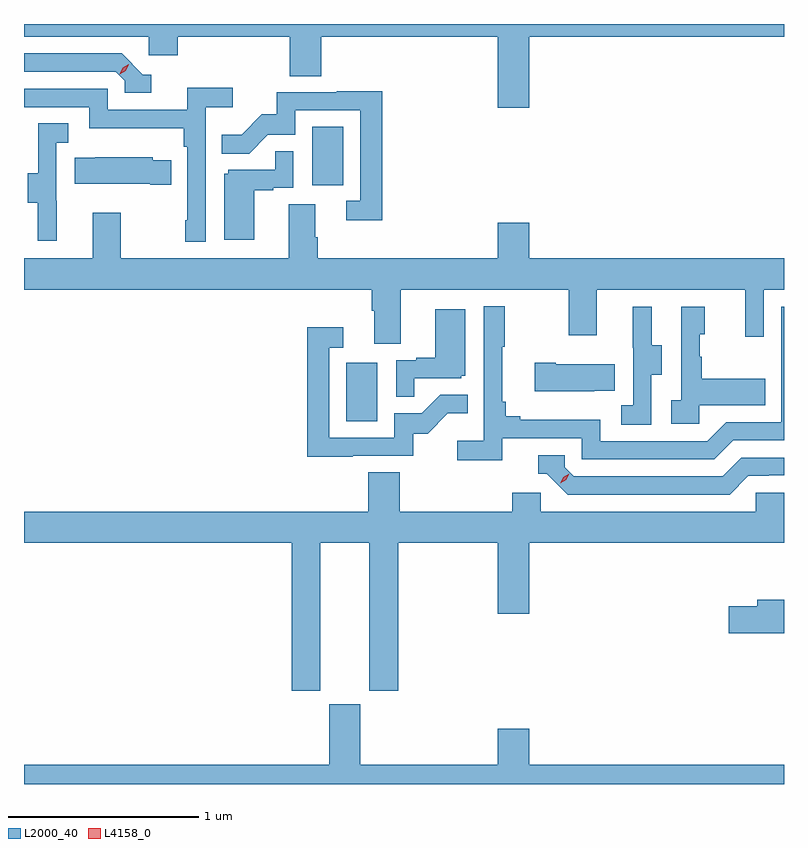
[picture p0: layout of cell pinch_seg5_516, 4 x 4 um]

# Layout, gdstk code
import gdstk
lib = gdstk.Library(unit=1e-6, precision=1e-09)
def R(c, l, rs):  # rectangles x0, y0, x1, y1
    for r in rs: c.add(gdstk.rectangle(r[:2], r[2:], *l))
def P(c, l, *ps):  # polygons
    for p in ps: c.add(gdstk.Polygon(p, *l))
L2000_40 = (2000, 40)
L4158_0 = (4158, 0)

pinch_seg5_516 = lib.new_cell('pinch_seg5_516')
R(pinch_seg5_516, L2000_40, [(895.478,834.756,895.642,835.063), (895.298,835.998,895.462,836.305)])
P(pinch_seg5_516, L2000_40, [(896.44,836.78),(897.782,836.78),(897.782,836.846),(893.782,836.846),(893.782,836.78),(894.438,836.78),(894.438,836.682),(894.59,836.682),(894.59,836.78),(895.181,836.78),(895.181,836.572),(895.346,836.572),(895.346,836.78),(896.276,836.78),(896.276,836.406),(896.44,836.406)],
  [(894.451,836.58),(894.408,836.58),(894.297,836.691),(893.782,836.691),(893.782,836.595),(894.264,836.595),(894.312,836.547),(894.312,836.484),(894.451,836.484)],
  [(894.738,836.408),(894.88,836.408),(894.88,836.51),(894.641,836.51),(894.641,836.394),(894.222,836.394),(894.222,836.505),(893.782,836.505),(893.782,836.409),(894.126,836.409),(894.126,836.297),(894.622,836.297),(894.622,836.201),(894.642,836.201),(894.642,835.813),(894.63,835.813),(894.63,835.701),(894.738,835.701)],
  [(895.667,836.492),(895.429,836.492),(895.429,836.487),(895.111,836.487),(895.111,836.37),(895.034,836.37),(894.927,836.263),(894.823,836.263),(894.823,836.164),(894.967,836.164),(895.065,836.262),(895.209,836.262),(895.209,836.391),(895.551,836.391),(895.551,835.917),(895.479,835.917),(895.479,835.812),(895.667,835.812)],
  [(893.954,835.917),(893.952,835.917),(893.952,836.221),(894.016,836.221),(894.016,836.324),(893.856,836.324),(893.856,836.061),(893.801,836.061),(893.801,835.906),(893.855,835.906),(893.855,835.704),(893.954,835.704)],
  [(894.994,835.971),(895.094,835.971),(895.094,835.983),(895.2,835.983),(895.2,836.177),(895.105,836.177),(895.105,836.079),(894.858,836.079),(894.858,836.058),(894.836,836.058),(894.836,835.71),(894.994,835.71)],
  [(894.557,836.128),(894.459,836.128),(894.459,836.146),(894.157,836.146),(894.157,836.143),(894.049,836.143),(894.049,836.006),(894.446,836.006),(894.446,835.999),(894.557,835.999)],
  [(895.765,835.448),(896.65,835.448),(896.65,835.209),(896.797,835.209),(896.797,835.448),(897.578,835.448),(897.578,835.2),(897.675,835.2),(897.675,835.448),(897.782,835.448),(897.782,835.612),(896.44,835.612),(896.44,835.801),(896.276,835.801),(896.276,835.612),(895.328,835.612),(895.328,835.724),(895.315,835.724),(895.315,835.898),(895.175,835.898),(895.175,835.612),(894.291,835.612),(894.291,835.852),(894.143,835.852),(894.143,835.612),(893.782,835.612),(893.782,835.448),(895.613,835.448),(895.613,835.336),(895.625,835.336),(895.625,835.162),(895.765,835.162)],
  [(896.3,834.666),(896.718,834.666),(896.718,834.555),(897.415,834.555),(897.514,834.654),(897.782,834.654),(897.782,835.359),(897.768,835.359),(897.768,834.75),(897.477,834.75),(897.378,834.651),(896.814,834.651),(896.814,834.763),(896.395,834.763),(896.395,834.782),(896.318,834.782),(896.318,834.859),(896.299,834.859),(896.299,835.147),(896.311,835.147),(896.311,835.36),(896.202,835.36),(896.202,834.652),(896.061,834.652),(896.061,834.55),(896.3,834.55)],
  [(897.084,835),(897.139,835),(897.139,835.155),(897.085,835.155),(897.085,835.357),(896.987,835.357),(896.987,835.143),(896.988,835.143),(896.988,834.839),(896.925,834.839),(896.925,834.736),(897.084,834.736)],
  [(897.336,834.839),(897.683,834.839),(897.683,834.979),(897.349,834.979),(897.349,835.094),(897.339,835.094),(897.339,835.212),(897.364,835.212),(897.364,835.357),(897.24,835.357),(897.24,834.866),(897.189,834.866),(897.189,834.741),(897.336,834.741)],
  [(895.835,834.981),(896.082,834.981),(896.082,834.996),(896.104,834.996),(896.104,835.345),(895.946,835.345),(895.946,835.09),(895.847,835.09),(895.847,835.077),(895.74,835.077),(895.74,834.883),(895.835,834.883)],
  [(895.511,834.573),(895.83,834.573),(895.83,834.69),(895.906,834.69),(896.013,834.797),(896.117,834.797),(896.117,834.896),(895.973,834.896),(895.875,834.798),(895.731,834.798),(895.731,834.669),(895.389,834.669),(895.389,835.143),(895.462,835.143),(895.462,835.249),(895.273,835.249),(895.273,834.568),(895.511,834.568)],
  [(896.783,834.917),(896.891,834.917),(896.891,835.054),(896.581,835.054),(896.581,835.062),(896.469,835.062),(896.469,834.914),(896.783,834.914)],
  [(897.595,834.468),(897.702,834.468),(897.702,834.471),(897.782,834.471),(897.782,834.564),(897.558,834.564),(897.459,834.465),(896.676,834.465),(896.628,834.513),(896.628,834.576),(896.489,834.576),(896.489,834.48),(896.532,834.48),(896.643,834.369),(897.496,834.369)],
  [(895.342,834.116),(895.598,834.116),(895.598,833.337),(895.751,833.337),(895.751,834.116),(896.276,834.116),(896.276,833.742),(896.44,833.742),(896.44,834.116),(897.782,834.116),(897.782,834.378),(897.633,834.378),(897.633,834.28),(896.502,834.28),(896.502,834.378),(896.351,834.378),(896.351,834.28),(895.76,834.28),(895.76,834.488),(895.595,834.488),(895.595,834.28),(893.782,834.28),(893.782,834.116),(895.19,834.116),(895.19,833.337),(895.342,833.337)],
  [(897.782,833.815),(897.641,833.815),(897.641,833.781),(897.492,833.781),(897.492,833.639),(897.782,833.639)],
  [(897.782,832.948),(896.44,832.948),(896.44,833.137),(896.276,833.137),(896.276,832.948),(895.552,832.948),(895.552,833.265),(895.388,833.265),(895.388,832.948),(893.782,832.948),(893.782,832.846),(897.782,832.846)])
P(pinch_seg5_516, L4158_0, [(894.287,836.582),(894.287,836.582),(894.303,836.615),(894.334,836.634),(894.334,836.634),(894.334,836.634),(894.318,836.601),(894.287,836.582)],
  [(896.604,834.428),(896.604,834.428),(896.62,834.46),(896.651,834.48),(896.651,834.48),(896.651,834.479),(896.635,834.447),(896.604,834.428)])

lib.write_gds('pinch_seg5_516.gds')
